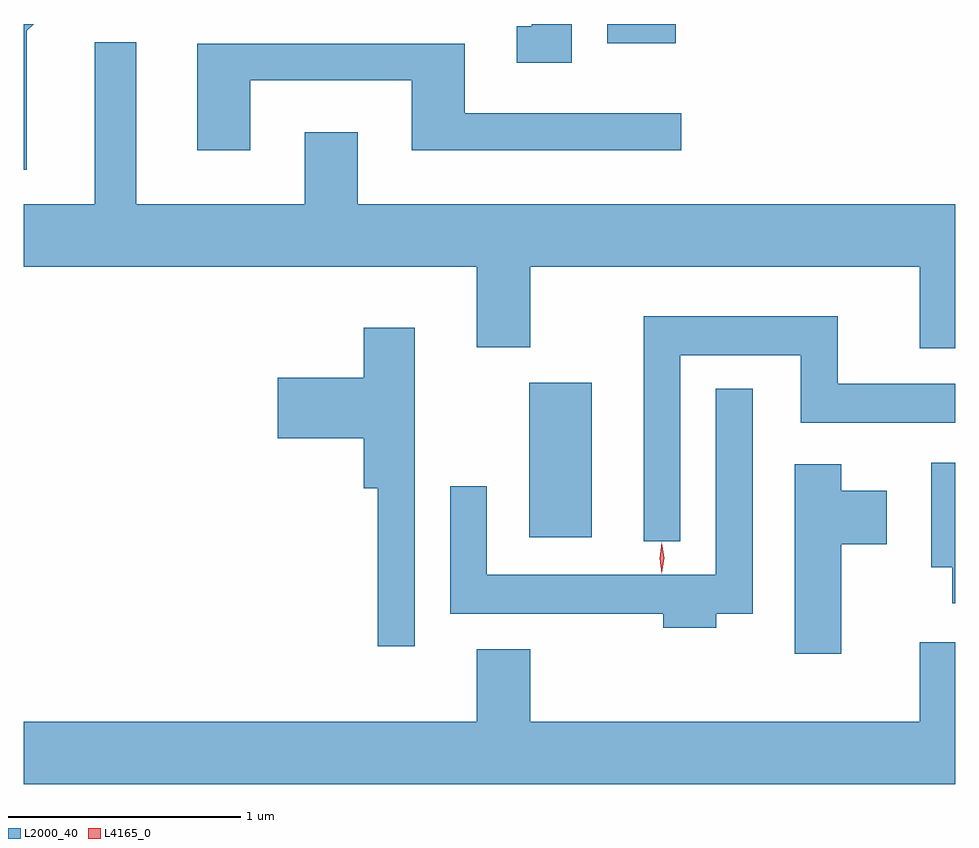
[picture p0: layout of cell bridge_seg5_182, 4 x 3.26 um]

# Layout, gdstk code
import gdstk
lib = gdstk.Library(unit=1e-6, precision=1e-09)
def R(c, l, rs):  # rectangles x0, y0, x1, y1
    for r in rs: c.add(gdstk.rectangle(r[:2], r[2:], *l))
def P(c, l, *ps):  # polygons
    for p in ps: c.add(gdstk.Polygon(p, *l))
L2000_40 = (2000, 40)
L4165_0 = (4165, 0)

bridge_seg5_182 = lib.new_cell('bridge_seg5_182')
R(bridge_seg5_182, L2000_40, [(1249.786,1420.116,1250.054,1420.779), (1250.121,1422.236,1250.414,1422.318)])
P(bridge_seg5_182, L2000_40, [(1249.969,1422.318),(1249.796,1422.318),(1249.796,1422.309),(1249.733,1422.309),(1249.733,1422.151),(1249.969,1422.151)],
  [(1247.629,1422.289),(1247.658,1422.318),(1247.615,1422.318),(1247.615,1421.693),(1247.629,1421.693)],
  [(1251.615,1421.544),(1249.049,1421.544),(1249.049,1421.854),(1248.821,1421.854),(1248.821,1421.544),(1248.099,1421.544),(1248.099,1422.239),(1247.921,1422.239),(1247.921,1421.544),(1247.615,1421.544),(1247.615,1421.276),(1249.561,1421.276),(1249.561,1420.931),(1249.789,1420.931),(1249.789,1421.276),(1251.461,1421.276),(1251.461,1420.926),(1251.615,1420.926)],
  [(1248.589,1422.076),(1249.281,1422.076),(1249.281,1421.776),(1250.438,1421.776),(1250.438,1421.934),(1249.509,1421.934),(1249.509,1422.234),(1248.361,1422.234),(1248.361,1421.776),(1248.589,1421.776)],
  [(1250.434,1420.896),(1250.951,1420.896),(1250.951,1420.606),(1251.615,1420.606),(1251.615,1420.774),(1251.109,1420.774),(1251.109,1421.064),(1250.276,1421.064),(1250.276,1420.098),(1250.434,1420.098)],
  [(1249.294,1421.014),(1249.076,1421.014),(1249.076,1420.799),(1248.706,1420.799),(1248.706,1420.541),(1249.076,1420.541),(1249.076,1420.326),(1249.136,1420.326),(1249.136,1419.648),(1249.294,1419.648)],
  [(1250.589,1419.786),(1250.744,1419.786),(1250.744,1420.753),(1250.586,1420.753),(1250.586,1419.954),(1249.604,1419.954),(1249.604,1420.333),(1249.446,1420.333),(1249.446,1419.786),(1250.361,1419.786),(1250.361,1419.726),(1250.589,1419.726)],
  [(1251.615,1420.434),(1251.511,1420.434),(1251.511,1419.986),(1251.601,1419.986),(1251.601,1419.831),(1251.615,1419.831)],
  [(1251.124,1420.086),(1251.319,1420.086),(1251.319,1420.314),(1251.124,1420.314),(1251.124,1420.429),(1250.926,1420.429),(1250.926,1419.616),(1251.124,1419.616)],
  [(1251.615,1419.664),(1251.461,1419.664),(1251.461,1419.324),(1249.789,1419.324),(1249.789,1419.634),(1249.561,1419.634),(1249.561,1419.324),(1247.615,1419.324),(1247.615,1419.056),(1251.615,1419.056)])
P(bridge_seg5_182, L4165_0, [(1250.355,1419.959),(1250.354,1419.96),(1250.345,1420.026),(1250.354,1420.092),(1250.355,1420.093),(1250.355,1420.092),(1250.365,1420.026),(1250.355,1419.96)])

lib.write_gds('bridge_seg5_182.gds')
